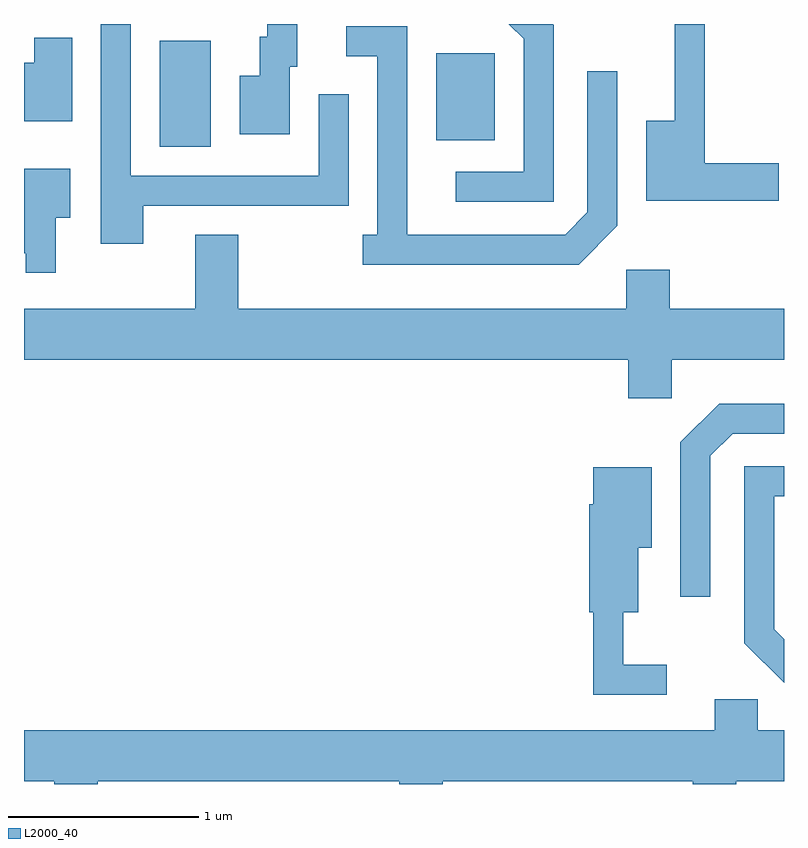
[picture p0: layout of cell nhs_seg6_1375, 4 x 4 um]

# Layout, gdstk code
import gdstk
lib = gdstk.Library(unit=1e-6, precision=1e-09)
def R(c, l, rs):  # rectangles x0, y0, x1, y1
    for r in rs: c.add(gdstk.rectangle(r[:2], r[2:], *l))
def P(c, l, *ps):  # polygons
    for p in ps: c.add(gdstk.Polygon(p, *l))
L2000_40 = (2000, 40)

nhs_seg6_1375 = lib.new_cell('nhs_seg6_1375')
R(nhs_seg6_1375, L2000_40, [(226.326,1635.516,226.594,1636.074), (227.781,1635.551,228.089,1636.009)])
P(nhs_seg6_1375, L2000_40, [(228.399,1636.157),(228.394,1636.162),(228.163,1636.162),(228.241,1636.084),(228.241,1635.384),(227.883,1635.384),(227.883,1635.226),(228.399,1635.226)],
  [(227.009,1635.936),(227.049,1635.936),(227.049,1636.162),(226.891,1636.162),(226.891,1636.094),(226.851,1636.094),(226.851,1635.889),(226.746,1635.889),(226.746,1635.581),(227.009,1635.581)],
  [(226.239,1635.206),(227.319,1635.206),(227.319,1635.793),(227.161,1635.793),(227.161,1635.364),(226.174,1635.364),(226.174,1636.162),(226.016,1636.162),(226.016,1635.006),(226.239,1635.006)],
  [(229.584,1635.429),(229.194,1635.429),(229.194,1636.162),(229.036,1636.162),(229.036,1635.654),(228.886,1635.654),(228.886,1635.231),(229.584,1635.231)],
  [(228.734,1635.099),(228.734,1635.913),(228.576,1635.913),(228.576,1635.172),(228.459,1635.054),(227.629,1635.054),(227.629,1636.149),(227.308,1636.149),(227.308,1635.991),(227.471,1635.991),(227.471,1635.054),(227.393,1635.054),(227.393,1634.896),(228.532,1634.896)],
  [(225.864,1636.089),(225.666,1636.089),(225.666,1635.959),(225.611,1635.959),(225.611,1635.651),(225.864,1635.651)],
  [(225.779,1635.141),(225.854,1635.141),(225.854,1635.399),(225.611,1635.399),(225.611,1634.956),(225.621,1634.956),(225.621,1634.853),(225.779,1634.853)],
  [(229.009,1634.869),(228.781,1634.869),(228.781,1634.664),(226.739,1634.664),(226.739,1635.054),(226.511,1635.054),(226.511,1634.664),(225.611,1634.664),(225.611,1634.396),(228.791,1634.396),(228.791,1634.191),(229.019,1634.191),(229.019,1634.396),(229.611,1634.396),(229.611,1634.664),(229.009,1634.664)],
  [(229.224,1633.889),(229.342,1634.006),(229.611,1634.006),(229.611,1634.164),(229.269,1634.164),(229.066,1633.962),(229.066,1633.148),(229.224,1633.148)],
  [(229.611,1632.925),(229.559,1632.977),(229.559,1633.676),(229.611,1633.676),(229.611,1633.834),(229.401,1633.834),(229.401,1632.904),(229.611,1632.694)],
  [(228.993,1632.789),(228.764,1632.789),(228.764,1633.066),(228.844,1633.066),(228.844,1633.406),(228.914,1633.406),(228.914,1633.829),(228.606,1633.829),(228.606,1633.634),(228.586,1633.634),(228.586,1633.066),(228.606,1633.066),(228.606,1632.631),(228.993,1632.631)],
  [(229.359,1632.176),(229.611,1632.176),(229.611,1632.444),(229.474,1632.444),(229.474,1632.609),(229.246,1632.609),(229.246,1632.444),(225.611,1632.444),(225.611,1632.176),(225.771,1632.176),(225.771,1632.162),(225.999,1632.162),(225.999,1632.176),(227.586,1632.176),(227.586,1632.162),(227.814,1632.162),(227.814,1632.176),(229.131,1632.176),(229.131,1632.162),(229.359,1632.162)])

lib.write_gds('nhs_seg6_1375.gds')
